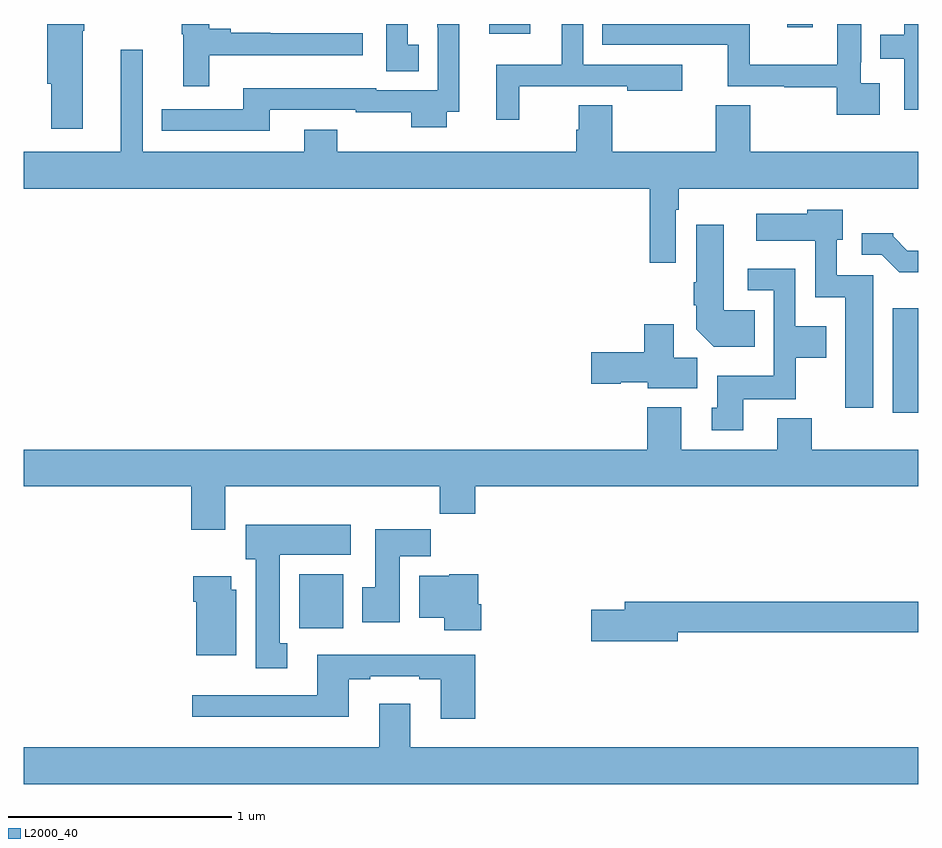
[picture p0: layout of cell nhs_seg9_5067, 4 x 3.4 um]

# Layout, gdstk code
import gdstk
lib = gdstk.Library(unit=1e-6, precision=1e-09)
def R(c, l, rs):  # rectangles x0, y0, x1, y1
    for r in rs: c.add(gdstk.rectangle(r[:2], r[2:], *l))
def P(c, l, *ps):  # polygons
    for p in ps: c.add(gdstk.Polygon(p, *l))
L2000_40 = (2000, 40)

nhs_seg9_5067 = lib.new_cell('nhs_seg9_5067')
R(nhs_seg9_5067, L2000_40, [(406.232,1183.796,406.429,1184.038), (408.887,1184.76,409,1185.229), (407.082,1186.457,407.266,1186.5), (408.414,1186.485,408.529,1186.5)])
P(nhs_seg9_5067, L2000_40, [(408.829,1186.234),(408.744,1186.234),(408.744,1186.33),(408.745,1186.33),(408.745,1186.5),(408.638,1186.5),(408.638,1186.318),(408.247,1186.318),(408.247,1186.5),(407.587,1186.5),(407.587,1186.407),(408.149,1186.407),(408.149,1186.221),(408.402,1186.221),(408.402,1186.216),(408.636,1186.216),(408.636,1186.094),(408.829,1186.094)],
  [(405.829,1186.361),(406.516,1186.361),(406.516,1186.458),(406.103,1186.458),(406.103,1186.461),(405.925,1186.461),(405.925,1186.478),(405.829,1186.478),(405.829,1186.5),(405.706,1186.5),(405.706,1186.455),(405.713,1186.455),(405.713,1186.221),(405.829,1186.221)],
  [(406.099,1186.116),(406.485,1186.116),(406.485,1186.106),(406.732,1186.106),(406.732,1186.037),(406.891,1186.037),(406.891,1186.107),(406.948,1186.107),(406.948,1186.5),(406.85,1186.5),(406.85,1186.486),(406.851,1186.486),(406.851,1186.203),(406.575,1186.203),(406.575,1186.213),(405.98,1186.213),(405.98,1186.119),(405.616,1186.119),(405.616,1186.023),(406.099,1186.023)],
  [(409,1186.5),(408.938,1186.5),(408.938,1186.453),(408.83,1186.453),(408.83,1186.344),(408.939,1186.344),(408.939,1186.116),(409,1186.116)],
  [(407.216,1186.221),(407.699,1186.221),(407.699,1186.202),(407.944,1186.202),(407.944,1186.317),(407.502,1186.317),(407.502,1186.5),(407.405,1186.5),(407.405,1186.318),(407.114,1186.318),(407.114,1186.071),(407.216,1186.071)],
  [(406.766,1186.407),(406.717,1186.407),(406.717,1186.5),(406.62,1186.5),(406.62,1186.288),(406.766,1186.288)],
  [(405.262,1186.469),(405.27,1186.469),(405.27,1186.5),(405.104,1186.5),(405.104,1186.233),(405.122,1186.233),(405.122,1186.032),(405.262,1186.032)],
  [(407.916,1185.668),(407.929,1185.668),(407.929,1185.764),(409,1185.764),(409,1185.928),(408.249,1185.928),(408.249,1186.136),(408.094,1186.136),(408.094,1185.928),(407.631,1185.928),(407.631,1186.136),(407.483,1186.136),(407.483,1186.026),(407.471,1186.026),(407.471,1185.928),(406.401,1185.928),(406.401,1186.027),(406.253,1186.027),(406.253,1185.928),(405.531,1185.928),(405.531,1186.384),(405.434,1186.384),(405.434,1185.928),(405,1185.928),(405,1185.764),(407.8,1185.764),(407.8,1185.432),(407.916,1185.432)],
  [(408.799,1185.375),(408.636,1185.375),(408.636,1185.534),(408.664,1185.534),(408.664,1185.67),(408.504,1185.67),(408.504,1185.652),(408.276,1185.652),(408.276,1185.53),(408.54,1185.53),(408.54,1185.278),(408.674,1185.278),(408.674,1184.784),(408.799,1184.784)],
  [(408.269,1185.22),(408.13,1185.22),(408.13,1185.601),(408.008,1185.601),(408.008,1185.344),(407.996,1185.344),(407.996,1185.241),(408.008,1185.241),(408.008,1185.134),(408.086,1185.056),(408.269,1185.056)],
  [(409,1185.486),(408.952,1185.486),(408.888,1185.55),(408.888,1185.565),(408.749,1185.565),(408.749,1185.468),(408.837,1185.468),(408.916,1185.39),(409,1185.39)],
  [(408.217,1184.822),(408.453,1184.822),(408.453,1185.008),(408.589,1185.008),(408.589,1185.148),(408.45,1185.148),(408.45,1185.405),(408.237,1185.405),(408.237,1185.309),(408.354,1185.309),(408.354,1184.926),(408.101,1184.926),(408.101,1184.784),(408.077,1184.784),(408.077,1184.682),(408.217,1184.682)],
  [(408.013,1185.008),(407.908,1185.008),(407.908,1185.157),(407.774,1185.157),(407.774,1185.032),(407.538,1185.032),(407.538,1184.89),(407.67,1184.89),(407.67,1184.897),(407.79,1184.897),(407.79,1184.87),(408.013,1184.87)],
  [(405.901,1184.432),(406.861,1184.432),(406.861,1184.308),(407.018,1184.308),(407.018,1184.432),(409,1184.432),(409,1184.596),(408.524,1184.596),(408.524,1184.737),(408.371,1184.737),(408.371,1184.596),(407.941,1184.596),(407.941,1184.785),(407.789,1184.785),(407.789,1184.596),(405,1184.596),(405,1184.432),(405.749,1184.432),(405.749,1184.238),(405.901,1184.238)],
  [(406.177,1183.73),(406.144,1183.73),(406.144,1184.126),(406.462,1184.126),(406.462,1184.26),(405.992,1184.26),(405.992,1184.106),(406.037,1184.106),(406.037,1183.617),(406.177,1183.617)],
  [(406.681,1184.12),(406.82,1184.12),(406.82,1184.239),(406.571,1184.239),(406.571,1183.98),(406.514,1183.98),(406.514,1183.824),(406.681,1183.824)],
  [(407.046,1183.905),(407.033,1183.905),(407.033,1184.038),(406.902,1184.038),(406.902,1184.032),(406.769,1184.032),(406.769,1183.844),(406.88,1183.844),(406.88,1183.787),(407.046,1183.787)],
  [(405.949,1183.968),(405.928,1183.968),(405.928,1184.029),(405.758,1184.029),(405.758,1183.916),(405.77,1183.916),(405.77,1183.676),(405.949,1183.676)],
  [(407.926,1183.78),(409,1183.78),(409,1183.916),(407.687,1183.916),(407.687,1183.88),(407.538,1183.88),(407.538,1183.738),(407.926,1183.738)],
  [(407.018,1183.678),(406.313,1183.678),(406.313,1183.497),(405.753,1183.497),(405.753,1183.4),(406.453,1183.4),(406.453,1183.569),(406.549,1183.569),(406.549,1183.581),(406.769,1183.581),(406.769,1183.569),(406.865,1183.569),(406.865,1183.392),(407.018,1183.392)],
  [(409,1183.264),(406.729,1183.264),(406.729,1183.459),(406.589,1183.459),(406.589,1183.264),(405,1183.264),(405,1183.1),(409,1183.1)])

lib.write_gds('nhs_seg9_5067.gds')
